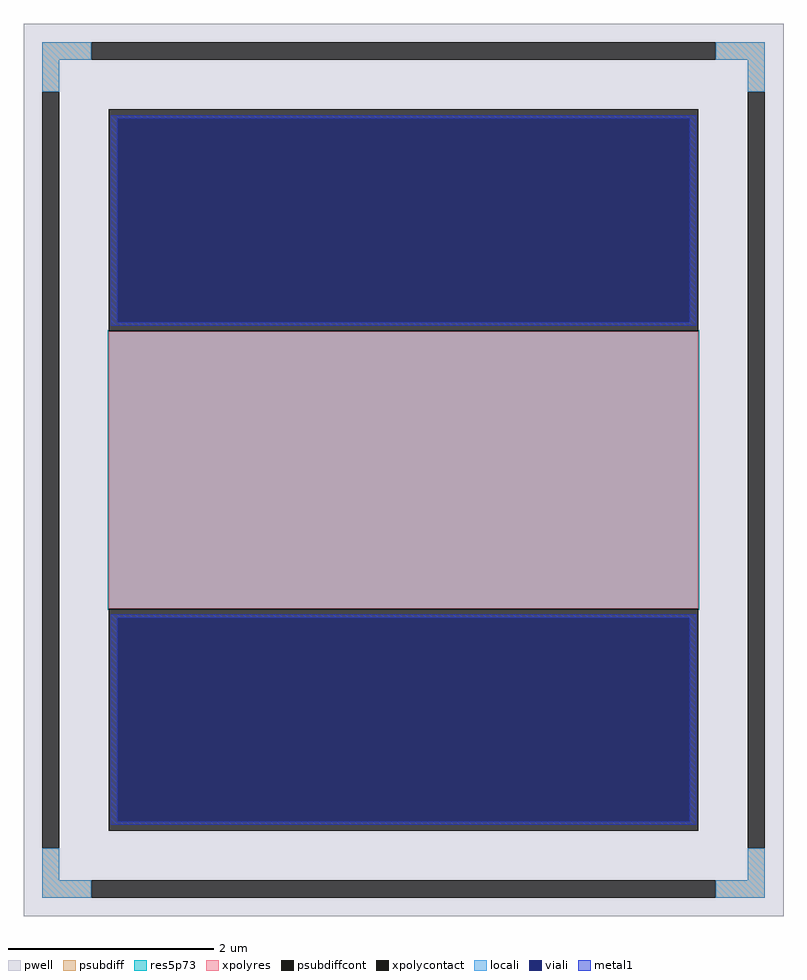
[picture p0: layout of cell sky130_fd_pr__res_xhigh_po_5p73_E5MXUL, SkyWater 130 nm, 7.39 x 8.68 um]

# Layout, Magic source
magic
tech sky130A
magscale 1 2
<< pwell >>
rect -739 -868 739 868
<< psubdiff >>
rect -703 798 -607 832
rect 607 798 703 832
rect -703 736 -669 798
rect 669 736 703 798
rect -703 -798 -669 -736
rect 669 -798 703 -736
rect -703 -832 -607 -798
rect 607 -832 703 -798
<< psubdiffcont >>
rect -607 798 607 832
rect -703 -736 -669 736
rect 669 -736 703 736
rect -607 -832 607 -798
<< xpolycontact >>
rect -573 270 573 702
rect -573 -702 573 -270
<< xpolyres >>
rect -573 -270 573 270
<< locali >>
rect -703 798 -607 832
rect 607 798 703 832
rect -703 736 -669 798
rect 669 736 703 798
rect -703 -798 -669 -736
rect 669 -798 703 -736
rect -703 -832 -607 -798
rect 607 -832 703 -798
<< viali >>
rect -557 287 557 684
rect -557 -684 557 -287
<< metal1 >>
rect -569 684 569 690
rect -569 287 -557 684
rect 557 287 569 684
rect -569 281 569 287
rect -569 -287 569 -281
rect -569 -684 -557 -287
rect 557 -684 569 -287
rect -569 -690 569 -684
<< res5p73 >>
rect -575 -272 575 272
<< properties >>
string FIXED_BBOX -686 -815 686 815
string gencell sky130_fd_pr__res_xhigh_po_5p73
string library sky130
string parameters w 5.730 l 2.7 m 1 nx 1 wmin 5.730 lmin 0.50 rho 2000 val 1.008k dummy 0 dw 0.0 term 188.2 sterm 0.0 caplen 0 wmax 5.730 guard 1 glc 1 grc 1 gtc 1 gbc 1 compatible {sky130_fd_pr__res_xhigh_po_0p35  sky130_fd_pr__res_xhigh_po_0p69 sky130_fd_pr__res_xhigh_po_1p41  sky130_fd_pr__res_xhigh_po_2p85 sky130_fd_pr__res_xhigh_po_5p73} full_metal 1 n_guard 0 hv_guard 0 vias 1 viagb 0 viagt 0 viagl 0 viagr 0
<< end >>
